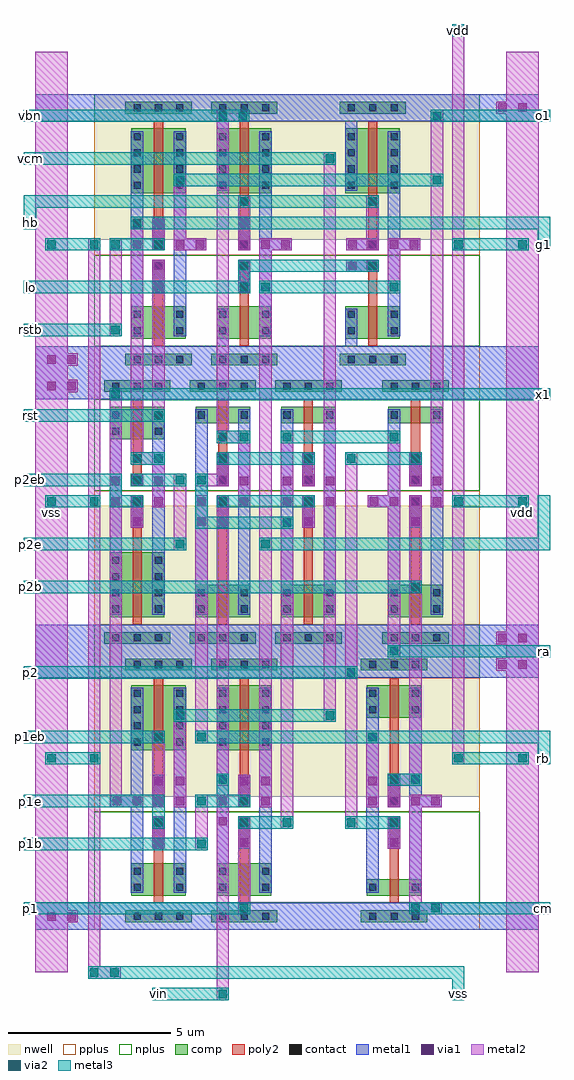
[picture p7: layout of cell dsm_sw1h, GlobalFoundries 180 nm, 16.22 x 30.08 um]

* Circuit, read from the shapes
.subckt dsm_sw1h cm d1 g1 hb lo o1 p1 p1b p1e p1eb p2 p2b p2e p2eb ra rb rst rstb vbn vcm vdd vin vss x1
XM1 g1 p2e x1 vss nfet_03v3 w=1u l=0.28u
XM2 vcm p1e x1 vss nfet_03v3 w=1u l=0.28u
XM3 o1 rst g1 vss nfet_03v3 w=1u l=0.28u
XM4 vbn p1 rb vss nfet_03v3 w=0.5u l=0.28u
XM5 d1 p1 vin vss nfet_03v3 w=1u l=0.28u
XM6 d1 lo vss vss nfet_03v3 w=1u l=0.28u m=2
XM7 vcm p1 ra vss nfet_03v3 w=0.5u l=0.28u
XM8 cm p2 rb vss nfet_03v3 w=0.5u l=0.28u
XM9 o1 p2 ra vss nfet_03v3 w=0.5u l=0.28u
XM10 g1 p2eb x1 vdd pfet_03v3 w=2u l=0.28u
XM11 vcm p1eb x1 vdd pfet_03v3 w=2u l=0.28u
XM12 o1 rstb g1 vdd pfet_03v3 w=2u l=0.28u
XM13 vbn p1b rb vdd pfet_03v3 w=1u l=0.28u
XM14 d1 p1b vin vdd pfet_03v3 w=2u l=0.28u
XM15 d1 hb vdd vdd pfet_03v3 w=2u l=0.28u m=2
XM16 vcm p1b ra vdd pfet_03v3 w=1u l=0.28u
XM17 cm p2b rb vdd pfet_03v3 w=1u l=0.28u
XM18 o1 p2b ra vdd pfet_03v3 w=1u l=0.28u
.ends

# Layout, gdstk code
import gdstk
lib = gdstk.Library(unit=1e-6, precision=1e-09)
def R(c, l, rs):  # rectangles x0, y0, x1, y1
    for r in rs: c.add(gdstk.rectangle(r[:2], r[2:], *l))
def A(c, l, x, y, w, h, nx, ny, dx, dy):  # array of equal rectangles
    R(c, l, [(x+i*dx, y+j*dy, x+i*dx+w, y+j*dy+h) for i in range(nx) for j in range(ny)])
nwell = (21, 0)
comp = (22, 0)
poly2 = (30, 0)
pplus = (31, 0)
nplus = (32, 0)
contact = (33, 0)
metal1 = (34, 0)
via1 = (35, 0)
metal2 = (36, 0)
via2 = (38, 0)
metal3 = (42, 0)

tqc_fill_1 = lib.new_cell('tqc_fill_1')
R(tqc_fill_1, nwell, [(0,4.1,0.66,8.58)])
R(tqc_fill_1, pplus, [(0,0,0.66,0.82), (0,3.63,0.66,7.76)])
R(tqc_fill_1, nplus, [(0,0.82,0.66,3.63), (0,7.76,0.66,8.58)])

tqc_tg_0p5_1 = lib.new_cell('tqc_tg_0p5_1')
R(tqc_tg_0p5_1, nwell, [(0,4.1,2.64,8.58)])
R(tqc_tg_0p5_1, comp, [(0.3,0.23,2.34,0.59), (0.48,1.05,2.16,1.55), (0.48,6.53,2.16,7.53), (0.3,7.99,2.34,8.35)])
R(tqc_tg_0p5_1, poly2, [(1.18,0.83,1.46,3.48), (1.14,3.12,1.5,3.48), (1.14,3.78,1.5,4.14), (1.18,3.78,1.46,7.75)])
R(tqc_tg_0p5_1, pplus, [(0,0,2.64,0.82), (0,3.63,2.64,7.76)])
R(tqc_tg_0p5_1, nplus, [(0,0.82,2.64,3.63), (0,7.76,2.64,8.58)])
A(tqc_tg_0p5_1, contact, 0.55, 0.3, 0.22, 0.22, 3, 2, 0.66, 7.76)
R(tqc_tg_0p5_1, contact, [(0.55,1.19,0.77,1.41), (1.87,1.19,2.09,1.41), (1.21,3.19,1.43,3.41), (1.21,3.85,1.43,4.07), (0.55,6.67,0.77,6.89), (1.87,6.67,2.09,6.89), (0.55,7.17,0.77,7.39), (1.87,7.17,2.09,7.39)])
R(tqc_tg_0p5_1, metal1, [(0,0,2.64,0.82), (0.47,1.13,0.85,1.47), (1.79,1.13,2.17,1.47), (0.47,1.37,0.85,4.15), (1.79,1.37,2.17,4.15), (1.13,3.11,1.51,3.49), (0.47,3.77,0.85,6.71), (1.13,3.77,1.51,4.15), (1.79,3.77,2.17,6.71), (0.47,6.61,0.85,7.45), (1.79,6.61,2.17,7.45), (0,7.76,2.64,8.58)])

tqc_tg_1_2 = lib.new_cell('tqc_tg_1_2')
R(tqc_tg_1_2, nwell, [(0,4.1,2.64,8.58)])
R(tqc_tg_1_2, comp, [(0.3,0.23,2.34,0.59), (0.48,1.05,2.16,2.05), (0.48,5.53,2.16,7.53), (0.3,7.99,2.34,8.35)])
R(tqc_tg_1_2, poly2, [(1.18,0.83,1.46,3.48), (1.14,3.12,1.5,3.48), (1.14,3.78,1.5,4.14), (1.18,3.78,1.46,7.75)])
R(tqc_tg_1_2, pplus, [(0,0,2.64,0.82), (0,3.63,2.64,7.76)])
R(tqc_tg_1_2, nplus, [(0,0.82,2.64,3.63), (0,7.76,2.64,8.58)])
A(tqc_tg_1_2, contact, 0.55, 0.3, 0.22, 0.22, 3, 2, 0.66, 7.76)
A(tqc_tg_1_2, contact, 0.55, 5.67, 0.22, 0.22, 1, 4, 0, 0.5)
A(tqc_tg_1_2, contact, 1.87, 5.67, 0.22, 0.22, 1, 4, 0, 0.5)
R(tqc_tg_1_2, contact, [(0.55,1.19,0.77,1.41), (1.87,1.19,2.09,1.41), (0.55,1.69,0.77,1.91), (1.87,1.69,2.09,1.91), (1.21,3.19,1.43,3.41), (1.21,3.85,1.43,4.07)])
R(tqc_tg_1_2, metal1, [(0,0,2.64,0.82), (0.47,1.13,0.85,1.97), (1.79,1.13,2.17,1.97), (0.47,1.87,0.85,4.15), (1.79,1.87,2.17,4.15), (1.13,3.11,1.51,3.49), (0.47,3.77,0.85,5.71), (1.13,3.77,1.51,4.15), (1.79,3.77,2.17,5.71), (0.47,5.61,0.85,7.45), (1.79,5.61,2.17,7.45), (0,7.76,2.64,8.58)])

tqc_drv_1_2 = lib.new_cell('tqc_drv_1_2')
R(tqc_drv_1_2, nwell, [(0,4.1,2.64,8.58)])
R(tqc_drv_1_2, comp, [(0.3,0.23,2.34,0.59), (0.48,1.05,2.16,2.05), (0.48,5.53,2.16,7.53), (0.3,7.99,2.34,8.35)])
R(tqc_drv_1_2, poly2, [(1.18,0.83,1.46,3.48), (1.14,3.12,1.5,3.48), (1.14,3.78,1.5,4.14), (1.18,3.78,1.46,7.75)])
R(tqc_drv_1_2, pplus, [(0,0,2.64,0.82), (0,3.63,2.64,7.76)])
R(tqc_drv_1_2, nplus, [(0,0.82,2.64,3.63), (0,7.76,2.64,8.58)])
A(tqc_drv_1_2, contact, 0.55, 0.3, 0.22, 0.22, 3, 2, 0.66, 7.76)
A(tqc_drv_1_2, contact, 0.55, 5.67, 0.22, 0.22, 1, 4, 0, 0.5)
A(tqc_drv_1_2, contact, 1.87, 5.67, 0.22, 0.22, 1, 4, 0, 0.5)
R(tqc_drv_1_2, contact, [(0.55,1.19,0.77,1.41), (1.87,1.19,2.09,1.41), (0.55,1.69,0.77,1.91), (1.87,1.69,2.09,1.91), (1.21,3.19,1.43,3.41), (1.21,3.85,1.43,4.07)])
R(tqc_drv_1_2, metal1, [(0,0,2.64,0.82), (0.47,0,0.85,1.97), (1.79,1.13,2.17,1.97), (1.79,1.87,2.17,4.15), (1.13,3.11,1.51,3.49), (1.13,3.77,1.51,4.15), (1.79,3.77,2.17,5.71), (0.47,5.61,0.85,8.58), (1.79,5.61,2.17,7.45), (0,7.76,2.64,8.58)])

tqc_fill_2 = lib.new_cell('tqc_fill_2')
R(tqc_fill_2, nwell, [(0,4.1,1.32,8.58)])
R(tqc_fill_2, pplus, [(0,0,1.32,0.82), (0,3.63,1.32,7.76)])
R(tqc_fill_2, nplus, [(0,0.82,1.32,3.63), (0,7.76,1.32,8.58)])

tqc_fill_3 = lib.new_cell('tqc_fill_3')
R(tqc_fill_3, nwell, [(0,4.1,1.98,8.58)])
R(tqc_fill_3, pplus, [(0,0,1.98,0.82), (0,3.63,1.98,7.76)])
R(tqc_fill_3, nplus, [(0,0.82,1.98,3.63), (0,7.76,1.98,8.58)])

dsm_sw1h = lib.new_cell('dsm_sw1h')
A(dsm_sw1h, metal1, 3.11, 5.75, 0.38, 0.38, 3, 2, 0.66, 17.16)
A(dsm_sw1h, metal1, 5.75, 5.75, 0.38, 0.38, 3, 1, 0.66, 0)
A(dsm_sw1h, metal1, 10.37, 5.75, 0.38, 0.38, 3, 1, 0.66, 0)
A(dsm_sw1h, metal1, 2.45, 14.99, 0.38, 0.38, 3, 1, 0.66, 0)
A(dsm_sw1h, metal1, 5.09, 14.99, 0.38, 0.38, 3, 1, 0.66, 0)
A(dsm_sw1h, metal1, 6.41, 14.99, 0.38, 1, 3, 1, 1.32, 0)
A(dsm_sw1h, metal1, 7.73, 14.99, 0.38, 0.38, 3, 1, 0.66, 0)
A(dsm_sw1h, metal1, 11.03, 14.99, 0.38, 0.38, 3, 1, 0.66, 0)
A(dsm_sw1h, metal1, 3.11, 15.65, 0.38, 0.38, 3, 1, 2.64, 0)
R(dsm_sw1h, metal1, [(0.16,1.98,15.68,2.8), (0.47,2.2,1.47,2.58), (3.77,4.47,4.15,5.47), (6.41,4.47,6.79,5.47), (11.03,4.47,11.41,5.47), (3.77,5.09,4.15,5.47), (6.41,5.09,6.79,5.47), (11.03,5.09,11.41,5.47), (5.75,5.13,6.13,6.13), (2.49,5.75,3.49,6.13), (3.77,5.75,4.15,6.75), (4.43,5.75,4.81,6.75), (6.41,5.75,6.79,6.75), (7.07,5.75,7.45,6.75), (10.37,5.75,10.75,6.75), (11.03,5.75,11.41,6.75), (11.69,5.75,12.69,6.13), (0.16,9.74,15.68,10.56), (14.37,9.96,15.37,10.34), (0.16,10.56,15.68,11.38), (14.37,10.78,15.37,11.16), (3.11,14.37,3.49,15.37), (5.09,14.37,5.47,15.37), (5.75,14.37,6.13,15.37), (8.39,14.37,8.77,15.37), (11.69,14.37,12.07,15.37), (2.45,14.99,2.83,15.99), (3.77,14.99,4.15,15.99), (10.41,14.99,11.41,15.37), (12.35,14.99,12.73,15.99), (5.75,15.65,6.13,16.65), (8.39,15.65,8.77,16.65), (11.69,15.65,12.07,16.65), (11.69,15.65,12.07,16.03), (0.16,18.32,15.68,19.14), (0.47,18.54,1.47,18.92), (0.16,19.14,15.68,19.96), (0.47,19.36,1.47,19.74), (3.77,21.63,4.15,22.63), (6.41,21.63,6.79,22.63), (3.77,22.25,4.15,22.63), (6.41,22.25,6.79,22.63), (9.75,22.25,10.75,22.63), (10.37,22.25,10.75,22.63), (3.11,22.91,3.49,23.91), (3.77,22.91,4.15,23.91), (4.43,22.91,5.43,23.29), (6.41,22.91,6.79,23.91), (6.41,22.91,6.79,23.29), (7.07,22.91,8.07,23.29), (7.07,22.91,7.45,23.29), (9.75,22.91,10.75,23.29), (10.37,22.91,10.75,23.29), (11.03,22.91,12.03,23.29), (11.03,22.91,11.41,23.29), (0.16,26.9,15.68,27.72), (14.37,27.12,15.37,27.5)])
A(dsm_sw1h, via1, 3.17, 5.81, 0.26, 0.26, 3, 2, 0.66, 17.16)
A(dsm_sw1h, via1, 5.81, 5.81, 0.26, 0.26, 3, 1, 0.66, 0)
A(dsm_sw1h, via1, 10.43, 5.81, 0.26, 0.26, 3, 1, 0.66, 0)
A(dsm_sw1h, via1, 2.51, 15.05, 0.26, 0.26, 3, 1, 0.66, 0)
A(dsm_sw1h, via1, 5.15, 15.05, 0.26, 0.26, 3, 1, 0.66, 0)
A(dsm_sw1h, via1, 7.79, 15.05, 0.26, 0.26, 3, 1, 0.66, 0)
A(dsm_sw1h, via1, 11.09, 15.05, 0.26, 0.26, 3, 1, 0.66, 0)
A(dsm_sw1h, via1, 6.47, 15.67, 0.26, 0.26, 3, 1, 1.32, 0)
A(dsm_sw1h, via1, 3.17, 15.71, 0.26, 0.26, 3, 1, 2.64, 0)
R(dsm_sw1h, via1, [(0.53,2.26,0.79,2.52), (1.15,2.26,1.41,2.52), (3.83,4.53,4.09,4.79), (6.47,4.53,6.73,4.79), (11.09,4.53,11.35,4.79), (3.83,5.15,4.09,5.41), (6.47,5.15,6.73,5.41), (11.09,5.15,11.35,5.41), (5.81,5.19,6.07,5.45), (2.55,5.81,2.81,6.07), (12.37,5.81,12.63,6.07), (3.83,6.43,4.09,6.69), (4.49,6.43,4.75,6.69), (6.47,6.43,6.73,6.69), (7.13,6.43,7.39,6.69), (10.43,6.43,10.69,6.69), (11.09,6.43,11.35,6.69), (14.43,10.02,14.69,10.28), (15.05,10.02,15.31,10.28), (14.43,10.84,14.69,11.1), (15.05,10.84,15.31,11.1), (3.17,14.43,3.43,14.69), (5.15,14.43,5.41,14.69), (5.81,14.43,6.07,14.69), (8.45,14.43,8.71,14.69), (11.75,14.43,12.01,14.69), (10.47,15.05,10.73,15.31), (2.51,15.67,2.77,15.93), (3.83,15.67,4.09,15.93), (12.41,15.67,12.67,15.93), (11.75,15.71,12.01,15.97), (5.81,16.33,6.07,16.59), (8.45,16.33,8.71,16.59), (11.75,16.33,12.01,16.59), (0.53,18.6,0.79,18.86), (1.15,18.6,1.41,18.86), (0.53,19.42,0.79,19.68), (1.15,19.42,1.41,19.68), (3.83,21.69,4.09,21.95), (6.47,21.69,6.73,21.95), (3.83,22.31,4.09,22.57), (6.47,22.31,6.73,22.57), (9.81,22.31,10.07,22.57), (10.43,22.31,10.69,22.57), (5.11,22.97,5.37,23.23), (6.47,22.97,6.73,23.23), (7.13,22.97,7.39,23.23), (7.75,22.97,8.01,23.23), (9.81,22.97,10.07,23.23), (10.43,22.97,10.69,23.23), (11.09,22.97,11.35,23.23), (11.71,22.97,11.97,23.23), (3.17,23.59,3.43,23.85), (3.83,23.59,4.09,23.85), (6.47,23.59,6.73,23.85), (14.43,27.18,14.69,27.44), (15.05,27.18,15.31,27.44)])
A(dsm_sw1h, metal2, 5.75, -0.19, 0.38, 0.38, 1, 7, 0, 0.66)
A(dsm_sw1h, metal2, 5.75, -0.19, 0.38, 1.04, 1, 7, 0, 0.66)
A(dsm_sw1h, metal2, 1.79, 0.47, 0.38, 0.38, 1, 8, 0, 0.66)
A(dsm_sw1h, metal2, 1.79, 0.47, 0.38, 1.04, 1, 24, 0, 0.66)
A(dsm_sw1h, metal2, 6.41, 2.45, 0.38, 0.38, 1, 3, 0, 0.66)
A(dsm_sw1h, metal2, 6.41, 2.45, 0.38, 1.04, 1, 3, 0, 0.66)
A(dsm_sw1h, metal2, 11.69, 2.45, 0.38, 0.38, 1, 6, 0, 0.66)
A(dsm_sw1h, metal2, 11.69, 2.45, 0.38, 1.04, 1, 4, 0, 0.66)
A(dsm_sw1h, metal2, 5.09, 4.43, 0.38, 0.38, 3, 2, 0.66, 0.66)
A(dsm_sw1h, metal2, 5.09, 4.43, 0.38, 1.04, 3, 1, 0.66, 0)
A(dsm_sw1h, metal2, 5.75, 5.09, 0.38, 1.04, 4, 1, 1.98, 0)
A(dsm_sw1h, metal2, 7.73, 5.09, 0.38, 0.38, 1, 16, 0, 0.66)
A(dsm_sw1h, metal2, 1.79, 5.75, 0.38, 0.38, 3, 2, 0.66, 9.9)
A(dsm_sw1h, metal2, 2.45, 5.75, 0.38, 1.04, 1, 16, 0, 0.66)
A(dsm_sw1h, metal2, 3.77, 5.75, 0.38, 0.38, 1, 3, 0, 0.66)
A(dsm_sw1h, metal2, 3.77, 5.75, 0.38, 1.04, 1, 3, 0, 0.66)
A(dsm_sw1h, metal2, 4.43, 5.75, 0.38, 0.38, 3, 2, 0.66, 2.64)
A(dsm_sw1h, metal2, 7.73, 5.75, 0.38, 1.04, 1, 3, 0, 0.66)
A(dsm_sw1h, metal2, 9.71, 5.75, 0.38, 1.04, 3, 1, 0.66, 0)
A(dsm_sw1h, metal2, 1.79, 6.41, 0.38, 0.38, 1, 14, 0, 0.66)
A(dsm_sw1h, metal2, 2.45, 6.41, 0.38, 0.38, 1, 14, 0, 0.66)
A(dsm_sw1h, metal2, 4.43, 6.41, 0.38, 0.38, 3, 2, 1.32, 0.66)
A(dsm_sw1h, metal2, 4.43, 6.41, 0.38, 1.04, 3, 2, 1.32, 0.66)
A(dsm_sw1h, metal2, 9.71, 6.41, 0.38, 0.38, 4, 1, 0.66, 0)
A(dsm_sw1h, metal2, 9.71, 7.07, 0.38, 0.38, 1, 13, 0, 0.66)
A(dsm_sw1h, metal2, 10.37, 7.07, 0.38, 0.38, 3, 2, 1.32, 0.66)
A(dsm_sw1h, metal2, 10.37, 7.07, 0.38, 1.04, 3, 1, 1.32, 0)
A(dsm_sw1h, metal2, 3.77, 7.73, 0.38, 0.38, 4, 1, 0.66, 0)
A(dsm_sw1h, metal2, 4.43, 7.73, 0.38, 1.04, 3, 2, 0.66, 5.94)
A(dsm_sw1h, metal2, 7.07, 7.73, 0.38, 0.38, 1, 11, 0, 0.66)
A(dsm_sw1h, metal2, 7.07, 7.73, 0.38, 1.04, 1, 11, 0, 0.66)
A(dsm_sw1h, metal2, 7.73, 7.73, 0.38, 1.04, 3, 1, 1.98, 0)
A(dsm_sw1h, metal2, 13.01, 7.73, 0.38, 1.04, 1, 12, 0, 0.66)
A(dsm_sw1h, metal2, 5.09, 8.39, 0.38, 1.04, 1, 8, 0, 0.66)
A(dsm_sw1h, metal2, 5.75, 8.39, 0.38, 1.04, 1, 8, 0, 0.66)
A(dsm_sw1h, metal2, 7.73, 8.39, 0.38, 1.04, 1, 9, 0, 0.66)
A(dsm_sw1h, metal2, 9.05, 8.39, 0.38, 0.38, 1, 11, 0, 0.66)
A(dsm_sw1h, metal2, 9.05, 8.39, 0.38, 1.04, 1, 11, 0, 0.66)
A(dsm_sw1h, metal2, 9.71, 8.39, 0.38, 1.04, 1, 10, 0, 0.66)
A(dsm_sw1h, metal2, 11.69, 8.39, 0.38, 0.38, 1, 11, 0, 0.66)
A(dsm_sw1h, metal2, 11.69, 8.39, 0.38, 1.04, 1, 10, 0, 0.66)
A(dsm_sw1h, metal2, 13.01, 8.39, 0.38, 0.38, 1, 11, 0, 0.66)
A(dsm_sw1h, metal2, 5.09, 9.05, 0.38, 0.38, 1, 7, 0, 0.66)
A(dsm_sw1h, metal2, 5.75, 9.05, 0.38, 0.38, 1, 7, 0, 0.66)
A(dsm_sw1h, metal2, 11.03, 10.37, 0.38, 0.38, 1, 8, 0, 0.66)
A(dsm_sw1h, metal2, 11.03, 10.37, 0.38, 1.04, 1, 7, 0, 0.66)
A(dsm_sw1h, metal2, 4.43, 13.67, 0.38, 0.38, 3, 2, 0.66, 0.66)
A(dsm_sw1h, metal2, 4.43, 14.33, 0.38, 1.04, 3, 1, 0.66, 0)
A(dsm_sw1h, metal2, 3.77, 14.99, 0.38, 0.38, 3, 1, 0.66, 0)
A(dsm_sw1h, metal2, 6.41, 14.99, 0.38, 1, 3, 1, 1.32, 0)
A(dsm_sw1h, metal2, 6.41, 14.99, 0.38, 0.38, 3, 1, 0.66, 0)
A(dsm_sw1h, metal2, 6.41, 14.99, 0.38, 1.04, 3, 2, 0.66, 1.32)
A(dsm_sw1h, metal2, 9.71, 14.99, 0.38, 1.04, 3, 1, 1.32, 0)
A(dsm_sw1h, metal2, 3.11, 15.65, 0.38, 0.38, 5, 1, 0.66, 0)
A(dsm_sw1h, metal2, 5.75, 15.65, 0.38, 0.38, 5, 1, 0.66, 0)
A(dsm_sw1h, metal2, 5.75, 15.65, 0.38, 1.04, 7, 1, 0.66, 0)
A(dsm_sw1h, metal2, 8.39, 15.65, 0.38, 0.38, 3, 1, 0.66, 0)
A(dsm_sw1h, metal2, 11.03, 15.65, 0.38, 1.04, 4, 1, 0.66, 0)
A(dsm_sw1h, metal2, 11.69, 15.65, 0.38, 0.38, 3, 1, 0.66, 0)
A(dsm_sw1h, metal2, 1.79, 16.31, 0.38, 0.38, 4, 2, 0.66, 1.32)
A(dsm_sw1h, metal2, 1.79, 16.31, 0.38, 1.04, 3, 2, 0.66, 0.66)
A(dsm_sw1h, metal2, 5.75, 16.31, 0.38, 0.38, 7, 1, 0.66, 0)
A(dsm_sw1h, metal2, 9.05, 16.31, 0.38, 1.04, 1, 9, 0, 0.66)
A(dsm_sw1h, metal2, 11.03, 16.31, 0.38, 0.38, 4, 1, 0.66, 0)
A(dsm_sw1h, metal2, 12.35, 16.31, 0.38, 1.04, 1, 12, 0, 0.66)
A(dsm_sw1h, metal2, 13.01, 16.31, 0.38, 1.04, 1, 20, 0, 0.66)
A(dsm_sw1h, metal2, 1.79, 16.97, 0.38, 0.38, 3, 2, 0.66, 5.94)
A(dsm_sw1h, metal2, 5.75, 16.97, 0.38, 0.38, 4, 1, 0.66, 0)
A(dsm_sw1h, metal2, 5.75, 16.97, 0.38, 1.04, 1, 7, 0, 0.66)
A(dsm_sw1h, metal2, 7.07, 16.97, 0.38, 1.04, 1, 7, 0, 0.66)
A(dsm_sw1h, metal2, 9.05, 16.97, 0.38, 0.38, 1, 12, 0, 0.66)
A(dsm_sw1h, metal2, 12.35, 16.97, 0.38, 0.38, 1, 12, 0, 0.66)
A(dsm_sw1h, metal2, 13.01, 16.97, 0.38, 0.38, 1, 20, 0, 0.66)
A(dsm_sw1h, metal2, 1.79, 17.63, 0.38, 1.04, 4, 2, 0.66, 2.64)
A(dsm_sw1h, metal2, 5.75, 17.63, 0.38, 0.38, 1, 6, 0, 0.66)
A(dsm_sw1h, metal2, 7.07, 17.63, 0.38, 0.38, 1, 6, 0, 0.66)
A(dsm_sw1h, metal2, 1.79, 18.29, 0.38, 0.38, 4, 2, 0.66, 1.98)
A(dsm_sw1h, metal2, 1.79, 18.29, 0.38, 1.04, 1, 3, 0, 0.66)
A(dsm_sw1h, metal2, 3.11, 18.29, 0.38, 1.04, 1, 3, 0, 0.66)
A(dsm_sw1h, metal2, 3.77, 18.29, 0.38, 1.04, 1, 3, 0, 0.66)
A(dsm_sw1h, metal2, 1.79, 20.93, 0.38, 0.38, 4, 3, 0.66, 0.66)
A(dsm_sw1h, metal2, 1.79, 20.93, 0.38, 1.04, 4, 2, 0.66, 0.66)
A(dsm_sw1h, metal2, 5.75, 21.59, 0.38, 0.38, 3, 1, 0.66, 0)
A(dsm_sw1h, metal2, 5.75, 21.59, 0.38, 1.04, 3, 1, 0.66, 0)
A(dsm_sw1h, metal2, 11.03, 21.59, 0.38, 0.38, 1, 3, 0, 0.66)
A(dsm_sw1h, metal2, 1.79, 22.25, 0.38, 1.04, 3, 1, 0.66, 0)
A(dsm_sw1h, metal2, 7.07, 22.25, 0.38, 1.04, 3, 1, 1.98, 0)
A(dsm_sw1h, metal2, 3.11, 22.91, 0.38, 1.04, 3, 1, 1.32, 0)
A(dsm_sw1h, metal2, 6.41, 22.91, 0.38, 0.38, 1, 3, 0, 0.66)
A(dsm_sw1h, metal2, 10.37, 22.91, 0.38, 0.38, 1, 3, 0, 0.66)
A(dsm_sw1h, metal2, 3.11, 23.57, 0.38, 0.38, 3, 1, 1.32, 0)
A(dsm_sw1h, metal2, 5.75, 24.23, 0.38, 1.04, 3, 2, 3.3, 0.66)
A(dsm_sw1h, metal2, 5.75, 24.89, 0.38, 0.38, 3, 2, 3.3, 0.66)
R(dsm_sw1h, metal2, [(1.79,0.47,2.79,0.85), (0.16,0.66,1.16,29.04), (14.68,0.66,15.68,29.04), (0.47,2.2,1.47,2.58), (11.69,2.45,12.69,2.83), (3.77,4.47,4.15,5.47), (6.41,4.47,6.79,5.47), (11.03,4.47,11.41,5.47), (3.77,5.09,4.15,5.47), (3.77,5.09,4.15,5.47), (5.09,5.09,5.47,6.13), (6.41,5.09,6.79,5.47), (9.71,5.09,10.09,5.47), (11.03,5.09,11.41,5.47), (11.03,5.09,11.41,5.47), (5.75,5.13,6.13,6.13), (2.45,5.75,3.49,6.13), (2.49,5.75,3.49,6.13), (3.11,5.75,3.49,6.13), (3.77,5.75,4.15,6.75), (3.77,5.75,4.15,6.13), (4.43,5.75,4.81,6.75), (4.43,5.75,4.81,6.13), (4.43,5.75,4.81,6.79), (5.75,5.75,6.13,6.13), (6.41,5.75,6.79,6.75), (6.41,5.75,6.79,6.13), (6.41,5.75,6.79,6.13), (7.07,5.75,7.45,6.75), (7.07,5.75,7.45,6.13), (7.07,5.75,7.45,6.13), (7.07,5.75,7.45,6.79), (9.71,5.75,10.09,6.13), (10.37,5.75,10.75,6.75), (10.37,5.75,10.75,6.13), (10.37,5.75,10.75,6.13), (11.03,5.75,11.41,6.75), (11.03,5.75,11.41,6.13), (11.03,5.75,11.41,6.13), (11.69,5.75,12.69,6.13), (11.69,5.75,12.07,6.13), (9.71,6.41,10.09,7.45), (10.37,6.41,10.75,7.45), (11.03,6.41,12.07,6.79), (11.69,6.41,12.07,7.45), (9.71,7.07,10.09,8.11), (14.37,9.96,15.37,10.34), (14.37,10.78,15.37,11.16), (3.11,14.37,3.49,15.37), (5.09,14.37,5.47,15.37), (5.75,14.37,6.13,15.37), (8.39,14.37,8.77,15.37), (11.69,14.37,12.07,15.37), (2.45,14.99,2.83,15.99), (2.45,14.99,2.83,15.37), (3.11,14.99,3.49,15.37), (3.11,14.99,3.49,15.37), (3.77,14.99,4.15,15.99), (3.77,14.99,4.15,15.37), (3.77,14.99,4.15,16.03), (4.43,14.99,4.81,16.03), (5.09,14.99,5.47,15.37), (5.75,14.99,6.13,15.37), (5.75,14.99,6.13,15.37), (6.41,14.99,6.79,15.37), (8.39,14.99,8.77,15.37), (8.39,14.99,8.77,15.37), (9.05,14.99,9.43,15.37), (10.41,14.99,11.41,15.37), (11.03,14.99,11.41,15.37), (11.69,14.99,12.07,15.37), (12.35,14.99,12.73,15.99), (12.35,14.99,12.73,15.37), (12.35,14.99,12.73,15.37), (3.77,15.65,4.15,16.69), (5.09,15.65,6.13,16.03), (5.75,15.65,6.13,16.65), (8.39,15.65,8.77,16.65), (11.03,15.65,11.41,16.03), (11.69,15.65,12.07,16.65), (11.69,15.65,12.07,16.03), (3.11,16.31,4.15,16.69), (11.03,16.31,11.41,17.35), (5.75,16.97,6.79,17.35), (11.03,16.97,11.41,17.35), (0.47,18.54,1.47,18.92), (1.79,18.95,2.17,19.33), (3.11,18.95,3.49,19.33), (3.77,18.95,4.15,19.33), (0.47,19.36,1.47,19.74), (1.79,19.61,2.17,19.99), (3.11,19.61,3.49,19.99), (3.77,19.61,4.15,19.99), (11.03,21.59,11.41,22.63), (3.77,21.63,4.15,22.63), (6.41,21.63,6.79,22.63), (3.77,22.25,4.15,22.63), (5.75,22.25,6.13,22.63), (5.75,22.25,6.13,23.29), (6.41,22.25,6.79,22.63), (6.41,22.25,6.79,22.63), (7.07,22.25,7.45,22.63), (9.75,22.25,10.75,22.63), (10.37,22.25,10.75,22.63), (10.37,22.25,10.75,22.63), (3.11,22.91,3.49,23.91), (3.11,22.91,3.49,23.29), (3.77,22.91,4.15,23.91), (3.77,22.91,4.15,23.29), (3.77,22.91,4.15,23.29), (4.43,22.91,5.43,23.29), (4.43,22.91,4.81,23.29), (4.43,22.91,4.81,23.29), (5.75,22.91,6.13,23.29), (6.41,22.91,6.79,23.91), (6.41,22.91,6.79,23.29), (6.41,22.91,6.79,23.95), (7.07,22.91,8.07,23.29), (7.07,22.91,7.45,23.29), (7.07,22.91,7.45,23.29), (9.05,22.91,9.43,23.95), (9.75,22.91,10.75,23.29), (10.37,22.91,10.75,23.29), (10.37,22.91,10.75,23.95), (11.03,22.91,12.03,23.29), (11.03,22.91,11.41,23.29), (4.43,23.57,4.81,24.61), (5.75,23.57,6.13,24.61), (6.41,23.57,6.79,24.61), (9.05,23.57,9.43,24.61), (10.37,23.57,10.75,24.61), (4.43,24.23,4.81,24.61), (4.43,24.23,4.81,25.27), (5.75,24.23,6.13,24.61), (4.43,24.89,4.81,25.27), (5.75,25.55,6.13,26.59), (12.35,25.55,12.73,26.59), (5.75,26.21,6.13,26.59), (5.75,26.21,6.13,27.25), (12.35,26.21,12.73,26.59), (12.35,26.21,12.73,27.25), (5.75,26.87,6.75,27.25), (5.75,26.87,6.13,27.25), (12.35,26.87,12.73,27.25), (14.37,27.12,15.37,27.5)])
A(dsm_sw1h, via2, 13.07, 7.13, 0.26, 0.26, 1, 3, 0, 7.92)
A(dsm_sw1h, via2, 15.05, 7.13, 0.26, 0.26, 1, 3, 0, 7.92)
A(dsm_sw1h, via2, 0.53, 15.05, 0.26, 0.26, 3, 1, 1.32, 0)
R(dsm_sw1h, via2, [(5.81,-0.13,6.07,0.13), (1.85,0.53,2.11,0.79), (2.47,0.53,2.73,0.79), (6.47,2.51,6.73,2.77), (11.75,2.51,12.01,2.77), (12.37,2.51,12.63,2.77), (5.15,4.49,5.41,4.75), (3.83,5.15,4.09,5.41), (6.47,5.15,6.73,5.41), (7.79,5.15,8.05,5.41), (9.77,5.15,10.03,5.41), (11.09,5.15,11.35,5.41), (5.15,5.81,5.41,6.07), (6.47,5.81,6.73,6.07), (5.81,6.47,6.07,6.73), (11.09,6.47,11.35,6.73), (11.75,6.47,12.01,6.73), (0.53,7.13,0.79,7.39), (1.85,7.13,2.11,7.39), (3.83,7.79,4.09,8.05), (5.15,7.79,5.41,8.05), (10.43,7.79,10.69,8.05), (4.49,8.45,4.75,8.71), (9.11,8.45,9.37,8.71), (9.77,9.77,10.03,10.03), (11.09,10.43,11.35,10.69), (11.75,12.41,12.01,12.67), (4.49,13.73,4.75,13.99), (7.13,13.73,7.39,13.99), (7.79,14.39,8.05,14.65), (5.81,15.05,6.07,15.31), (8.45,15.05,8.71,15.31), (3.17,15.71,3.43,15.97), (4.49,15.71,4.75,15.97), (5.15,15.71,5.41,15.97), (3.17,16.37,3.43,16.63), (3.83,16.37,4.09,16.63), (5.81,16.37,6.07,16.63), (8.45,16.37,8.71,16.63), (9.77,16.37,10.03,16.63), (11.75,16.37,12.01,16.63), (5.81,17.03,6.07,17.29), (6.47,17.03,6.73,17.29), (7.79,17.03,8.05,17.29), (11.09,17.03,11.35,17.29), (3.83,17.69,4.09,17.95), (2.51,18.35,2.77,18.61), (2.51,20.33,2.77,20.59), (6.47,21.65,6.73,21.91), (7.13,21.65,7.39,21.91), (11.09,21.65,11.35,21.91), (6.47,22.31,6.73,22.57), (10.43,22.31,10.69,22.57), (0.53,22.97,0.79,23.23), (1.85,22.97,2.11,23.23), (2.51,22.97,2.77,23.23), (3.83,22.97,4.09,23.23), (3.17,23.63,3.43,23.89), (6.47,24.29,6.73,24.55), (10.43,24.29,10.69,24.55), (4.49,24.95,4.75,25.21), (12.41,24.95,12.67,25.21), (9.11,25.61,9.37,25.87), (5.81,26.93,6.07,27.19), (6.43,26.93,6.69,27.19), (12.41,26.93,12.67,27.19), (13.07,29.57,13.33,29.83)])
A(dsm_sw1h, metal3, 3.77, -0.19, 0.38, 0.38, 4, 1, 0.66, 0)
A(dsm_sw1h, metal3, 3.77, -0.19, 1.04, 0.38, 3, 1, 0.66, 0)
A(dsm_sw1h, metal3, 1.79, 0.47, 0.38, 0.38, 18, 1, 0.66, 0)
A(dsm_sw1h, metal3, 1.79, 0.47, 1.04, 0.38, 17, 1, 0.66, 0)
A(dsm_sw1h, metal3, -0.19, 2.45, 0.38, 0.38, 11, 1, 0.66, 0)
A(dsm_sw1h, metal3, -0.19, 2.45, 1.04, 0.38, 10, 2, 0.66, 19.14)
A(dsm_sw1h, metal3, 11.69, 2.45, 0.38, 0.38, 7, 1, 0.66, 0)
A(dsm_sw1h, metal3, 11.69, 2.45, 1.04, 0.38, 6, 1, 0.66, 0)
A(dsm_sw1h, metal3, -0.19, 4.43, 0.38, 0.38, 9, 2, 0.66, 11.22)
A(dsm_sw1h, metal3, -0.19, 4.43, 1.04, 0.38, 8, 1, 0.66, 0)
A(dsm_sw1h, metal3, 6.41, 5.09, 0.38, 0.38, 3, 1, 0.66, 0)
A(dsm_sw1h, metal3, 9.71, 5.09, 0.38, 0.38, 3, 1, 0.66, 0)
A(dsm_sw1h, metal3, -0.19, 5.75, 0.38, 0.38, 7, 2, 0.66, 1.98)
A(dsm_sw1h, metal3, -0.19, 5.75, 1.04, 0.38, 6, 2, 0.66, 1.98)
A(dsm_sw1h, metal3, 5.09, 5.75, 0.38, 0.38, 3, 1, 0.66, 0)
A(dsm_sw1h, metal3, 0.47, 7.07, 0.38, 0.38, 3, 1, 0.66, 0)
A(dsm_sw1h, metal3, 0.47, 7.07, 1.04, 0.38, 1, 3, 0, 7.92)
A(dsm_sw1h, metal3, 1.13, 7.07, 1.04, 0.38, 1, 3, 0, 7.92)
A(dsm_sw1h, metal3, 13.01, 7.07, 0.38, 0.38, 5, 3, 0.66, 7.92)
A(dsm_sw1h, metal3, 13.01, 7.07, 1.04, 0.38, 3, 3, 0.66, 7.92)
A(dsm_sw1h, metal3, 5.09, 7.73, 0.38, 0.38, 17, 1, 0.66, 0)
A(dsm_sw1h, metal3, 5.09, 7.73, 1.04, 0.38, 16, 1, 0.66, 0)
A(dsm_sw1h, metal3, 4.43, 8.39, 0.38, 0.38, 8, 1, 0.66, 0)
A(dsm_sw1h, metal3, 4.43, 8.39, 1.04, 0.38, 7, 1, 0.66, 0)
A(dsm_sw1h, metal3, -0.19, 9.71, 0.38, 0.38, 16, 1, 0.66, 0)
A(dsm_sw1h, metal3, -0.19, 9.71, 1.04, 0.38, 15, 1, 0.66, 0)
A(dsm_sw1h, metal3, 11.03, 10.37, 0.38, 0.38, 8, 1, 0.66, 0)
A(dsm_sw1h, metal3, 11.03, 10.37, 1.04, 0.38, 7, 1, 0.66, 0)
A(dsm_sw1h, metal3, -0.19, 12.35, 0.38, 0.38, 19, 1, 0.66, 0)
A(dsm_sw1h, metal3, -0.19, 12.35, 1.04, 0.38, 18, 1, 0.66, 0)
A(dsm_sw1h, metal3, -0.19, 13.67, 0.38, 0.38, 8, 1, 0.66, 0)
A(dsm_sw1h, metal3, -0.19, 13.67, 1.04, 0.38, 7, 1, 0.66, 0)
A(dsm_sw1h, metal3, 7.07, 13.67, 0.38, 0.38, 14, 1, 0.66, 0)
A(dsm_sw1h, metal3, 7.07, 13.67, 1.04, 0.38, 13, 1, 0.66, 0)
A(dsm_sw1h, metal3, 5.09, 14.33, 0.38, 0.38, 5, 1, 0.66, 0)
A(dsm_sw1h, metal3, 5.09, 14.33, 1.04, 0.38, 4, 1, 0.66, 0)
A(dsm_sw1h, metal3, 0.47, 14.99, 0.38, 0.38, 5, 1, 0.66, 0)
A(dsm_sw1h, metal3, 5.09, 14.99, 0.38, 0.38, 6, 1, 0.66, 0)
A(dsm_sw1h, metal3, 5.75, 14.99, 1.04, 0.38, 4, 2, 0.66, 1.32)
A(dsm_sw1h, metal3, -0.19, 15.65, 1.04, 0.38, 4, 2, 0.66, 4.62)
A(dsm_sw1h, metal3, 5.75, 16.31, 0.38, 0.38, 5, 1, 0.66, 0)
A(dsm_sw1h, metal3, 9.71, 16.31, 0.38, 0.38, 4, 1, 0.66, 0)
A(dsm_sw1h, metal3, 9.71, 16.31, 1.04, 0.38, 3, 1, 0.66, 0)
A(dsm_sw1h, metal3, 7.73, 16.97, 0.38, 0.38, 6, 1, 0.66, 0)
A(dsm_sw1h, metal3, 7.73, 16.97, 1.04, 0.38, 5, 1, 0.66, 0)
A(dsm_sw1h, metal3, -0.19, 17.63, 0.38, 0.38, 7, 1, 0.66, 0)
A(dsm_sw1h, metal3, -0.19, 17.63, 1.04, 0.38, 6, 1, 0.66, 0)
A(dsm_sw1h, metal3, 2.45, 18.29, 0.38, 0.38, 21, 1, 0.66, 0)
A(dsm_sw1h, metal3, 2.45, 18.29, 1.04, 0.38, 20, 1, 0.66, 0)
A(dsm_sw1h, metal3, -0.19, 20.27, 0.38, 0.38, 5, 1, 0.66, 0)
A(dsm_sw1h, metal3, -0.19, 21.59, 0.38, 0.38, 18, 1, 0.66, 0)
A(dsm_sw1h, metal3, 7.07, 21.59, 1.04, 0.38, 6, 1, 0.66, 0)
A(dsm_sw1h, metal3, 6.41, 22.25, 0.38, 0.38, 7, 1, 0.66, 0)
A(dsm_sw1h, metal3, 6.41, 22.25, 1.04, 0.38, 6, 1, 0.66, 0)
A(dsm_sw1h, metal3, 0.47, 22.91, 0.38, 0.38, 6, 1, 0.66, 0)
A(dsm_sw1h, metal3, 3.11, 23.57, 0.38, 0.38, 20, 1, 0.66, 0)
A(dsm_sw1h, metal3, 3.11, 23.57, 1.04, 0.38, 19, 1, 0.66, 0)
A(dsm_sw1h, metal3, -0.19, 24.23, 0.38, 0.38, 17, 1, 0.66, 0)
A(dsm_sw1h, metal3, -0.19, 24.23, 1.04, 0.38, 16, 1, 0.66, 0)
A(dsm_sw1h, metal3, 4.43, 24.89, 0.38, 0.38, 13, 1, 0.66, 0)
A(dsm_sw1h, metal3, 4.43, 24.89, 1.04, 0.38, 12, 1, 0.66, 0)
A(dsm_sw1h, metal3, -0.19, 25.55, 0.38, 0.38, 15, 1, 0.66, 0)
A(dsm_sw1h, metal3, -0.19, 25.55, 1.04, 0.38, 14, 1, 0.66, 0)
A(dsm_sw1h, metal3, -0.19, 26.87, 0.38, 0.38, 10, 1, 0.66, 0)
A(dsm_sw1h, metal3, -0.19, 26.87, 1.04, 0.38, 9, 1, 0.66, 0)
A(dsm_sw1h, metal3, 12.35, 26.87, 0.38, 0.38, 6, 1, 0.66, 0)
A(dsm_sw1h, metal3, 12.35, 26.87, 1.04, 0.38, 5, 1, 0.66, 0)
R(dsm_sw1h, metal3, [(13.01,-0.19,13.39,0.85), (13.01,-0.19,13.39,0.19), (1.79,0.47,2.79,0.85), (11.69,2.45,12.69,2.83), (3.77,5.09,4.15,6.13), (3.77,5.09,4.15,5.47), (6.41,5.09,7.45,5.47), (7.07,5.09,8.11,5.47), (9.71,5.09,10.75,5.47), (10.37,5.09,11.41,5.47), (5.09,5.75,6.13,6.13), (5.75,5.75,6.13,6.79), (5.75,5.75,6.79,6.13), (5.75,6.41,6.13,6.79), (11.03,6.41,11.41,6.79), (11.03,6.41,12.07,6.79), (11.69,6.41,12.07,6.79), (15.65,7.07,16.03,8.11), (15.65,13.67,16.03,14.71), (5.09,14.33,5.47,15.37), (15.65,14.33,16.03,15.37), (15.65,14.33,16.03,14.71), (2.45,14.99,2.83,16.03), (2.45,14.99,3.49,15.37), (5.09,14.99,5.47,16.03), (3.11,15.65,4.15,16.03), (3.77,15.65,4.81,16.03), (3.11,16.31,3.49,16.69), (3.11,16.31,4.15,16.69), (3.77,16.31,4.15,16.69), (5.75,16.97,6.13,17.35), (5.75,16.97,6.79,17.35), (6.41,16.97,6.79,17.35), (6.41,21.59,6.79,22.63), (2.45,22.91,3.49,23.29), (3.11,22.91,4.15,23.29), (15.65,22.91,16.03,23.95), (-0.19,23.57,0.19,24.61), (-0.19,23.57,0.19,23.95), (5.75,26.87,6.75,27.25), (13.01,29.51,13.39,29.89)])
dsm_sw1h.add(gdstk.Reference(tqc_fill_1, (9.9,19.14), x_reflection=True))
dsm_sw1h.add(gdstk.Reference(tqc_fill_1, (13.2,19.14), x_reflection=True))
dsm_sw1h.add(gdstk.Reference(tqc_tg_0p5_1, (4.62,19.14), x_reflection=True))
dsm_sw1h.add(gdstk.Reference(tqc_tg_0p5_1, (7.26,19.14), x_reflection=True))
dsm_sw1h.add(gdstk.Reference(tqc_tg_0p5_1, (10.56,19.14), x_reflection=True))
dsm_sw1h.add(gdstk.Reference(tqc_tg_1_2, (1.98,19.14), x_reflection=True))
dsm_sw1h.add(gdstk.Reference(tqc_drv_1_2, (5.28,19.14)))
dsm_sw1h.add(gdstk.Reference(tqc_drv_1_2, (9.24,19.14)))
dsm_sw1h.add(gdstk.Reference(tqc_fill_2, (12.54,1.98)))
dsm_sw1h.add(gdstk.Reference(tqc_fill_2, (7.92,19.14)))
dsm_sw1h.add(gdstk.Reference(tqc_fill_1, (1.98,1.98)))
dsm_sw1h.add(gdstk.Reference(tqc_fill_1, (1.98,19.14)))
dsm_sw1h.add(gdstk.Reference(tqc_tg_0p5_1, (9.9,1.98)))
dsm_sw1h.add(gdstk.Reference(tqc_fill_3, (7.92,1.98)))
dsm_sw1h.add(gdstk.Reference(tqc_fill_3, (11.88,19.14)))
dsm_sw1h.add(gdstk.Reference(tqc_tg_1_2, (2.64,1.98)))
dsm_sw1h.add(gdstk.Reference(tqc_tg_1_2, (5.28,1.98)))
dsm_sw1h.add(gdstk.Reference(tqc_tg_1_2, (2.64,19.14)))
dsm_sw1h.add(gdstk.Label('vdd', (15.18,14.85), layer=36, texttype=10))
dsm_sw1h.add(gdstk.Label('vss', (0.66,14.85), layer=36, texttype=10))
dsm_sw1h.add(gdstk.Label('vdd', (13.2,29.7), layer=42, texttype=10))
dsm_sw1h.add(gdstk.Label('ra', (15.84,10.56), layer=42, texttype=10))
dsm_sw1h.add(gdstk.Label('cm', (15.84,2.64), layer=42, texttype=10))
dsm_sw1h.add(gdstk.Label('vbn', (0,27.06), layer=42, texttype=10))
dsm_sw1h.add(gdstk.Label('vss', (13.2,0), layer=42, texttype=10))
dsm_sw1h.add(gdstk.Label('d1', (15.84,15.18), layer=42, texttype=10))
dsm_sw1h.add(gdstk.Label('p1', (0,2.64), layer=42, texttype=10))
dsm_sw1h.add(gdstk.Label('p1b', (0,4.62), layer=42, texttype=10))
dsm_sw1h.add(gdstk.Label('rstb', (0,20.46), layer=42, texttype=10))
dsm_sw1h.add(gdstk.Label('p1e', (0,5.94), layer=42, texttype=10))
dsm_sw1h.add(gdstk.Label('vin', (3.96,0), layer=42, texttype=10))
dsm_sw1h.add(gdstk.Label('p2', (0,9.9), layer=42, texttype=10))
dsm_sw1h.add(gdstk.Label('p1eb', (0,7.92), layer=42, texttype=10))
dsm_sw1h.add(gdstk.Label('g1', (15.84,23.1), layer=42, texttype=10))
dsm_sw1h.add(gdstk.Label('p2b', (0,12.54), layer=42, texttype=10))
dsm_sw1h.add(gdstk.Label('o1', (15.84,27.06), layer=42, texttype=10))
dsm_sw1h.add(gdstk.Label('p2e', (0,13.86), layer=42, texttype=10))
dsm_sw1h.add(gdstk.Label('x1', (15.84,18.48), layer=42, texttype=10))
dsm_sw1h.add(gdstk.Label('lo', (0,21.78), layer=42, texttype=10))
dsm_sw1h.add(gdstk.Label('rb', (15.84,7.26), layer=42, texttype=10))
dsm_sw1h.add(gdstk.Label('p2eb', (0,15.84), layer=42, texttype=10))
dsm_sw1h.add(gdstk.Label('rst', (0,17.82), layer=42, texttype=10))
dsm_sw1h.add(gdstk.Label('hb', (0,23.76), layer=42, texttype=10))
dsm_sw1h.add(gdstk.Label('vcm', (0,25.74), layer=42, texttype=10))

lib.write_gds('dsm_sw1h.gds')
